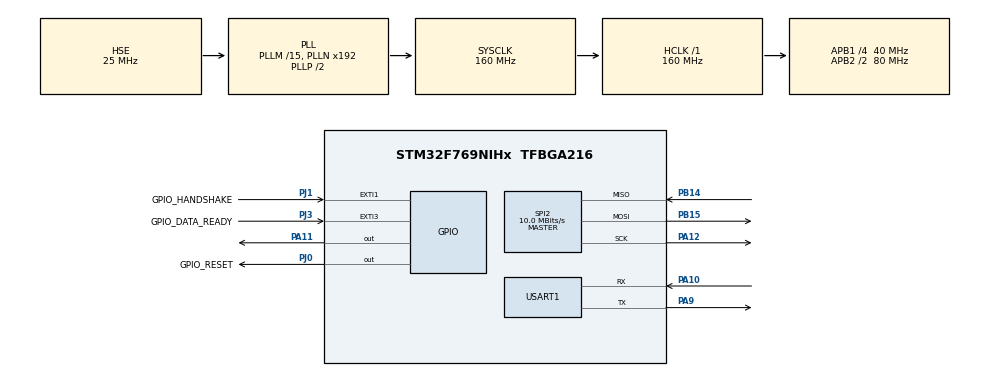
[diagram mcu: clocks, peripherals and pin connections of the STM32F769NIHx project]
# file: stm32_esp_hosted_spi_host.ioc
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Dma.Request0=SPI2_RX
Dma.Request1=SPI2_TX
Dma.SPI2_RX.0.Direction=DMA_PERIPH_TO_MEMORY
Dma.SPI2_RX.0.FIFOMode=DMA_FIFOMODE_DISABLE
Dma.SPI2_RX.0.Instance=DMA1_Stream1
Dma.SPI2_RX.0.MemDataAlignment=DMA_MDATAALIGN_BYTE
Dma.SPI2_RX.0.MemInc=DMA_MINC_ENABLE
Dma.SPI2_RX.0.Mode=DMA_NORMAL
Dma.SPI2_RX.0.PeriphDataAlignment=DMA_PDATAALIGN_BYTE
Dma.SPI2_RX.0.PeriphInc=DMA_PINC_DISABLE
Dma.SPI2_RX.0.Priority=DMA_PRIORITY_LOW
Dma.SPI2_TX.1.Direction=DMA_MEMORY_TO_PERIPH
Dma.SPI2_TX.1.FIFOMode=DMA_FIFOMODE_DISABLE
Dma.SPI2_TX.1.Instance=DMA1_Stream4
Dma.SPI2_TX.1.MemDataAlignment=DMA_MDATAALIGN_BYTE
Dma.SPI2_TX.1.MemInc=DMA_MINC_ENABLE
Dma.SPI2_TX.1.Mode=DMA_NORMAL
Dma.SPI2_TX.1.PeriphDataAlignment=DMA_PDATAALIGN_BYTE
Dma.SPI2_TX.1.PeriphInc=DMA_PINC_DISABLE
Dma.SPI2_TX.1.Priority=DMA_PRIORITY_LOW
FREERTOS.Tasks01=defaultTask,0,128,StartDefaultTask,Default,NULL,Dynamic,NULL,NULL
FREERTOS.configTIMER_TASK_PRIORITY=4
FREERTOS.configTOTAL_HEAP_SIZE=196608
FREERTOS.configUSE_NEWLIB_REENTRANT=1
FREERTOS.configUSE_TIMERS=1
Mcu.Family=STM32F7
Mcu.Name=STM32F769NIHx
Mcu.Package=TFBGA216
NVIC.DMA1_Stream1_IRQn=true\:5\:0\:false\:false\:true\:true\:false\:true\:true
NVIC.DMA1_Stream4_IRQn=true\:5\:0\:false\:false\:true\:true\:false\:true\:true
NVIC.EXTI1_IRQn=true\:5\:0\:false\:false\:true\:false\:true\:true\:true
NVIC.EXTI3_IRQn=true\:5\:0\:false\:false\:true\:false\:true\:true\:true
NVIC.PriorityGroup=NVIC_PRIORITYGROUP_4
NVIC.SPI2_IRQn=true\:5\:0\:false\:false\:true\:true\:true\:true\:true
NVIC.TIM6_DAC_IRQn=true\:15\:0\:false\:false\:true\:false\:false\:true\:true
NVIC.TimeBase=TIM6_DAC_IRQn
NVIC.TimeBaseIP=TIM6
PA10.Mode=Asynchronous
PA10.Signal=USART1_RX
PA11.PinState=GPIO_PIN_SET
PA11.Signal=GPIO_Output
PA12.Mode=Full_Duplex_Master
PA12.Signal=SPI2_SCK
PA13.Mode=Serial_Wire
PA13.Signal=SYS_JTMS-SWDIO
PA14.Mode=Serial_Wire
PA14.Signal=SYS_JTCK-SWCLK
PA9.Mode=Asynchronous
PA9.Signal=USART1_TX
PB14.Mode=Full_Duplex_Master
PB14.Signal=SPI2_MISO
PB15.Mode=Full_Duplex_Master
PB15.Signal=SPI2_MOSI
PC6.Signal=USART6_TX
PC7.Signal=USART6_RX
PH0/OSC_IN.Mode=HSE-External-Oscillator
PH0/OSC_IN.Signal=RCC_OSC_IN
PH1/OSC_OUT.Mode=HSE-External-Oscillator
PH1/OSC_OUT.Signal=RCC_OSC_OUT
PJ0.GPIO_Label=GPIO_RESET
PJ0.PinState=GPIO_PIN_SET
PJ0.Signal=GPIO_Output
PJ1.GPIO_Label=GPIO_HANDSHAKE
PJ1.Signal=GPXTI1
PJ3.GPIO_Label=GPIO_DATA_READY
PJ3.Signal=GPXTI3
ProjectManager.HeapSize=0x200
ProjectManager.StackSize=0x400
ProjectManager.TargetToolchain=STM32CubeIDE
RCC.AHBFreq_Value=160000000
RCC.APB1CLKDivider=RCC_HCLK_DIV4
RCC.APB1Freq_Value=40000000
RCC.APB1TimFreq_Value=80000000
RCC.APB2CLKDivider=RCC_HCLK_DIV2
RCC.APB2Freq_Value=80000000
RCC.APB2TimFreq_Value=160000000
RCC.CortexFreq_Value=160000000
RCC.HCLKFreq_Value=160000000
RCC.HSE_VALUE=25000000
RCC.HSI_VALUE=16000000
RCC.LSE_VALUE=32768
RCC.PLLM=15
RCC.PLLQ=4
RCC.PLLSAIQ=3
RCC.PLLSourceVirtual=RCC_PLLSOURCE_HSE
RCC.SYSCLKFreq_VALUE=160000000
RCC.SYSCLKSource=RCC_SYSCLKSOURCE_PLLCLK
RCC.USBFreq_Value=80000000
RCC.VCOOutputFreq_Value=320000000
SPI2.BaudRatePrescaler=SPI_BAUDRATEPRESCALER_4
SPI2.CLKPhase=SPI_PHASE_1EDGE
SPI2.CLKPolarity=SPI_POLARITY_HIGH
SPI2.CalculateBaudRate=10.0 MBits/s
SPI2.DataSize=SPI_DATASIZE_8BIT
SPI2.Direction=SPI_DIRECTION_2LINES
SPI2.Mode=SPI_MODE_MASTER
SPI2.VirtualType=VM_MASTER
USART1.VirtualMode-Asynchronous=VM_ASYNC
VP_FREERTOS_VS_CMSIS_V1.Mode=CMSIS_V1
VP_SYS_VS_tim6.Mode=TIM6
board=STM32F769I-DISCO

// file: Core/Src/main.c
/* USER CODE BEGIN Header */
/**
 ******************************************************************************
 * @file           : main.c
 * @brief          : Main program body
 ******************************************************************************
 * @attention
 *
 * Copyright (c) 2023 STMicroelectronics.
 * All rights reserved.
 *
 * This software is licensed under terms that can be found in the LICENSE file
 * in the root directory of this software component.
 * If no LICENSE file comes with this software, it is provided AS-IS.
 *
 ******************************************************************************
 */
/* USER CODE END Header */
#include "main.h"
#include "cmsis_os.h"

/* USER CODE BEGIN Includes */
#include "stdio.h"
#include "mod_interface_wifi.h"
#include "string.h"
/* USER CODE END Includes */

SPI_HandleTypeDef hspi2;
DMA_HandleTypeDef hdma_spi2_rx;
DMA_HandleTypeDef hdma_spi2_tx;

UART_HandleTypeDef huart1;

osThreadId defaultTaskHandle;
/* USER CODE BEGIN PV */
persist_backup_t persist_backup = {0};
/* USER CODE END PV */

void SystemClock_Config(void);
static void MX_GPIO_Init(void);
static void MX_DMA_Init(void);
static void MX_SPI2_Init(void);
static void MX_USART1_UART_Init(void);
void StartDefaultTask(void const * argument);

/* USER CODE BEGIN 0 */
void get_data_ssi(hs_ssi_parameters_t *context)
{
	strcpy((char *)context->ssid_ap, (char *)persist_backup.payload.ap_conf.ssid);
	strcpy((char *)context->ssid_sta, (char *)persist_backup.payload.st_conf.ssid);
	context->ap_ssid_is_hidden = persist_backup.payload.ap_conf.ssid_hidden;
}

void set_data_cgi(persist_payload_t * context, uint8_t typeUpdate)
{
	if(typeUpdate == UPDATE_AP){
		strcpy((char *)persist_backup.payload.ap_conf.ssid, (char *)context->ap_conf.ssid);
		strcpy((char *)persist_backup.payload.ap_conf.pwd, (char *)context->ap_conf.pwd);
		persist_backup.payload.ap_conf.ssid_hidden = context->ap_conf.ssid_hidden;

		persist_backup.newUpdate |= UPDATE_AP;
	}else if(typeUpdate == UPDATE_STA){
		strcpy((char *)persist_backup.payload.st_conf.ssid, (char *)context->st_conf.ssid);
		strcpy((char *)persist_backup.payload.st_conf.pwd, (char *)context->st_conf.pwd);

		persist_backup.newUpdate |= UPDATE_STA;
	}
}

/* USER CODE END 0 */

int main(void)
{

  /* MCU Configuration--------------------------------------------------------*/

  /* Reset of all peripherals, Initializes the Flash interface and the Systick. */
  HAL_Init();

  /* Configure the system clock */
  SystemClock_Config();

  /* Initialize all configured peripherals */
  MX_GPIO_Init();
  MX_DMA_Init();
  MX_SPI2_Init();
  MX_USART1_UART_Init();

  /* Create the thread(s) */
  /* definition and creation of defaultTask */
  osThreadDef(defaultTask, StartDefaultTask, osPriorityNormal, 0, 8 * 1024); //TODO: ver
  defaultTaskHandle = osThreadCreate(osThread(defaultTask), NULL);

  /* Start scheduler */
  osKernelStart();

  /* We should never get here as control is now taken by the scheduler */
  /* Infinite loop */
  while (1)
  {

  }
}

void SystemClock_Config(void)
{
  RCC_OscInitTypeDef RCC_OscInitStruct = {0};
  RCC_ClkInitTypeDef RCC_ClkInitStruct = {0};

  /** Configure the main internal regulator output voltage
   */
  __HAL_RCC_PWR_CLK_ENABLE();
  __HAL_PWR_VOLTAGESCALING_CONFIG(PWR_REGULATOR_VOLTAGE_SCALE2);

  /** Initializes the RCC Oscillators according to the specified parameters
   * in the RCC_OscInitTypeDef structure.
   */
  RCC_OscInitStruct.OscillatorType = RCC_OSCILLATORTYPE_HSE;
  RCC_OscInitStruct.HSEState = RCC_HSE_ON;
  RCC_OscInitStruct.PLL.PLLState = RCC_PLL_ON;
  RCC_OscInitStruct.PLL.PLLSource = RCC_PLLSOURCE_HSE;
  RCC_OscInitStruct.PLL.PLLM = 15;
  RCC_OscInitStruct.PLL.PLLN = 192;
  RCC_OscInitStruct.PLL.PLLP = RCC_PLLP_DIV2;
  RCC_OscInitStruct.PLL.PLLQ = 4;
  RCC_OscInitStruct.PLL.PLLR = 2;
  if (HAL_RCC_OscConfig(&RCC_OscInitStruct) != HAL_OK)
  {
    Error_Handler();
  }

  /** Initializes the CPU, AHB and APB buses clocks
   */
  RCC_ClkInitStruct.ClockType = RCC_CLOCKTYPE_HCLK|RCC_CLOCKTYPE_SYSCLK
		  	  	  	  	  	  |RCC_CLOCKTYPE_PCLK1|RCC_CLOCKTYPE_PCLK2;
  RCC_ClkInitStruct.SYSCLKSource = RCC_SYSCLKSOURCE_PLLCLK;
  RCC_ClkInitStruct.AHBCLKDivider = RCC_SYSCLK_DIV1;
  RCC_ClkInitStruct.APB1CLKDivider = RCC_HCLK_DIV4;
  RCC_ClkInitStruct.APB2CLKDivider = RCC_HCLK_DIV2;

  if (HAL_RCC_ClockConfig(&RCC_ClkInitStruct, FLASH_LATENCY_5) != HAL_OK)
  {
    Error_Handler();
  }
}

static void MX_SPI2_Init(void)
{

  /* SPI2 parameter configuration*/
  hspi2.Instance = SPI2;
  hspi2.Init.Mode = SPI_MODE_MASTER;
  hspi2.Init.Direction = SPI_DIRECTION_2LINES;
  hspi2.Init.DataSize = SPI_DATASIZE_8BIT;
  hspi2.Init.CLKPolarity = SPI_POLARITY_HIGH;
  hspi2.Init.CLKPhase = SPI_PHASE_1EDGE;
  hspi2.Init.NSS = SPI_NSS_SOFT;
  hspi2.Init.BaudRatePrescaler = SPI_BAUDRATEPRESCALER_4;
  hspi2.Init.FirstBit = SPI_FIRSTBIT_MSB;
  hspi2.Init.TIMode = SPI_TIMODE_DISABLE;
  hspi2.Init.CRCCalculation = SPI_CRCCALCULATION_DISABLE;
  hspi2.Init.CRCPolynomial = 7;
  hspi2.Init.CRCLength = SPI_CRC_LENGTH_DATASIZE;
  hspi2.Init.NSSPMode = SPI_NSS_PULSE_ENABLE;
  if (HAL_SPI_Init(&hspi2) != HAL_OK)
  {
    Error_Handler();
  }

}

static void MX_USART1_UART_Init(void)
{

  huart1.Instance = USART1;
  huart1.Init.BaudRate = 115200;
  huart1.Init.WordLength = UART_WORDLENGTH_8B;
  huart1.Init.StopBits = UART_STOPBITS_1;
  huart1.Init.Parity = UART_PARITY_NONE;
  huart1.Init.Mode = UART_MODE_TX_RX;
  huart1.Init.HwFlowCtl = UART_HWCONTROL_NONE;
  huart1.Init.OverSampling = UART_OVERSAMPLING_16;
  huart1.Init.OneBitSampling = UART_ONE_BIT_SAMPLE_DISABLE;
  huart1.AdvancedInit.AdvFeatureInit = UART_ADVFEATURE_NO_INIT;
  if (HAL_UART_Init(&huart1) != HAL_OK)
  {
    Error_Handler();
  }

}

static void MX_DMA_Init(void)
{

  /* DMA controller clock enable */
  __HAL_RCC_DMA1_CLK_ENABLE();

  /* DMA interrupt init */
  /* DMA1_Stream1_IRQn interrupt configuration */
  HAL_NVIC_SetPriority(DMA1_Stream1_IRQn, 5, 0);
  HAL_NVIC_EnableIRQ(DMA1_Stream1_IRQn);
  /* DMA1_Stream4_IRQn interrupt configuration */
  HAL_NVIC_SetPriority(DMA1_Stream4_IRQn, 5, 0);
  HAL_NVIC_EnableIRQ(DMA1_Stream4_IRQn);

}

static void MX_GPIO_Init(void)
{
  GPIO_InitTypeDef GPIO_InitStruct = {0};

  /* GPIO Ports Clock Enable */
  __HAL_RCC_GPIOA_CLK_ENABLE();
  __HAL_RCC_GPIOH_CLK_ENABLE();
  __HAL_RCC_GPIOC_CLK_ENABLE();
  __HAL_RCC_GPIOJ_CLK_ENABLE();
  __HAL_RCC_GPIOB_CLK_ENABLE();

  /*Configure GPIO pin Output Level */
  HAL_GPIO_WritePin(GPIOA, GPIO_PIN_11, GPIO_PIN_SET);

  /*Configure GPIO pin Output Level */
  HAL_GPIO_WritePin(GPIO_RESET_GPIO_Port, GPIO_RESET_Pin, GPIO_PIN_SET);

  /*Configure GPIO pin : PA11 */
  GPIO_InitStruct.Pin = GPIO_PIN_11;
  GPIO_InitStruct.Mode = GPIO_MODE_OUTPUT_PP;
  GPIO_InitStruct.Pull = GPIO_NOPULL;
  GPIO_InitStruct.Speed = GPIO_SPEED_FREQ_LOW;
  HAL_GPIO_Init(GPIOA, &GPIO_InitStruct);

  /*Configure GPIO pins : PC7 PC6 */
  GPIO_InitStruct.Pin = GPIO_PIN_7|GPIO_PIN_6;
  GPIO_InitStruct.Mode = GPIO_MODE_AF_PP;
  GPIO_InitStruct.Pull = GPIO_NOPULL;
  GPIO_InitStruct.Speed = GPIO_SPEED_FREQ_VERY_HIGH;
  GPIO_InitStruct.Alternate = GPIO_AF8_USART6;
  HAL_GPIO_Init(GPIOC, &GPIO_InitStruct);

  /*Configure GPIO pins : GPIO_DATA_READY_Pin GPIO_HANDSHAKE_Pin */
  GPIO_InitStruct.Pin = GPIO_DATA_READY_Pin|GPIO_HANDSHAKE_Pin;
  GPIO_InitStruct.Mode = GPIO_MODE_IT_RISING;
  GPIO_InitStruct.Pull = GPIO_NOPULL;
  HAL_GPIO_Init(GPIOJ, &GPIO_InitStruct);

  /*Configure GPIO pin : GPIO_RESET_Pin */
  GPIO_InitStruct.Pin = GPIO_RESET_Pin;
  GPIO_InitStruct.Mode = GPIO_MODE_OUTPUT_PP;
  GPIO_InitStruct.Pull = GPIO_NOPULL;
  GPIO_InitStruct.Speed = GPIO_SPEED_FREQ_LOW;
  HAL_GPIO_Init(GPIO_RESET_GPIO_Port, &GPIO_InitStruct);

  /* EXTI interrupt init*/
  HAL_NVIC_SetPriority(EXTI1_IRQn, 5, 0);
  HAL_NVIC_EnableIRQ(EXTI1_IRQn);

  HAL_NVIC_SetPriority(EXTI3_IRQn, 5, 0);
  HAL_NVIC_EnableIRQ(EXTI3_IRQn);

}

void StartDefaultTask(void const * argument)
{
  /* USER CODE BEGIN 5 */
	while(!mod_persist_init(&persist_backup));

	mod_interface_wifi_init();

  /* Infinite loop */
  for (;;)
  {
//	  mod_persist_run(&persist_backup);
	  mod_interface_wifi_run(&persist_backup);

	  osDelay(1);
  }
  /* USER CODE END 5 */
}

void HAL_TIM_PeriodElapsedCallback(TIM_HandleTypeDef *htim)
{
  if (htim->Instance == TIM6) {
    HAL_IncTick();
  }
}

void Error_Handler(void)
{
  __disable_irq();
  while (1)
  {
  }
}
